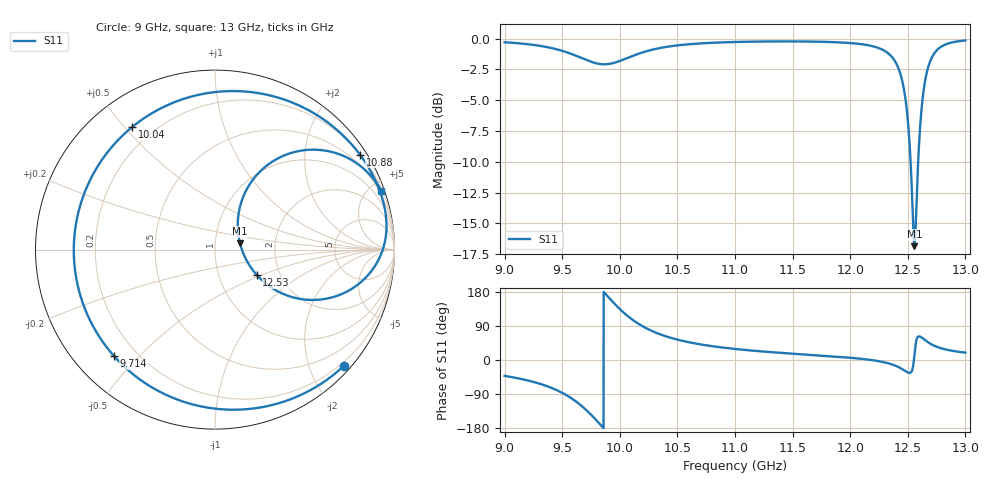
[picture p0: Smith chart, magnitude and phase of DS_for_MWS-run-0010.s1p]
! TOUCHSTONE file generated by CST DESIGN STUDIO
! Date and time: Tue Feb  4 17:39:26 2025
! Project name: C:\Work\MatlabApps\UnitCellOptimizationMatlab\CST\unitcell.cst
! Tree item: Tasks\Sweep1\SPara1\S-Parameters
! Header version: 2024
! Port assignment regex: !\s*Touchstone port\s*([0-9]+)\s*=\s*(CST MWS port|CST DES external port|CST DES block port)\s*(.+)\s* \(\"(.*)\"\)(\s*mode\s*([0-9]+))?.*
! Touchstone port assignment:
! Touchstone port 1 = CST DES external port 1 ("")
# GHz S MA R 50
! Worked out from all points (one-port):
!   4001 points, 9 GHz to 13 GHz, reference 50 ohm
!   lowest |S11| = -16.9 dB at 12.56 GHz (marker M1), VSWR 1.34, Z = 65.9 + j4.84 ohm
!   |S11| at or under -10 dB: 12.52 GHz to 12.59 GHz (65.64 MHz wide, 0.523 % of centre)
!   S11 on the Smith chart (normalised r, x): 9 GHz: 0.13, -2.61; 9.714 GHz: 0.12, -0.42; 10.04 GHz: 0.12, +0.52; 10.88 GHz: 0.21, +3.34; 12.53 GHz: 1.52, -0.46; 13 GHz: 0.29, +5.80
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9  0.9671 -41.9
9.279  0.9391 -60.2
9.5  0.8922 -86.6
9.615  0.8542 -108.4
9.714  0.8177 -133.5
9.791  0.7951 -157.1
9.858  0.7868 -179.6
9.924  0.792 158.2
10  0.8116 134.4
10.037  0.8242 124.1
10.117  0.8529 104.7
10.209  0.8826 87.2
10.346  0.9155 68.2
10.5  0.939 53.8
10.881  0.9655 33.3
11  0.9693 29.1
11.5  0.9745 16.7
12  0.9597 6.0
12.345  0.8595 -10.0
12.429  0.7358 -20.2
12.5  0.4675 -32.7
12.531  0.2711 -31.2
12.558  0.1436 14.5
12.586  0.2873 60.4
12.618  0.5093 59.8
12.675  0.7604 47.0
12.794  0.9303 30.5
13  0.9833 19.5
